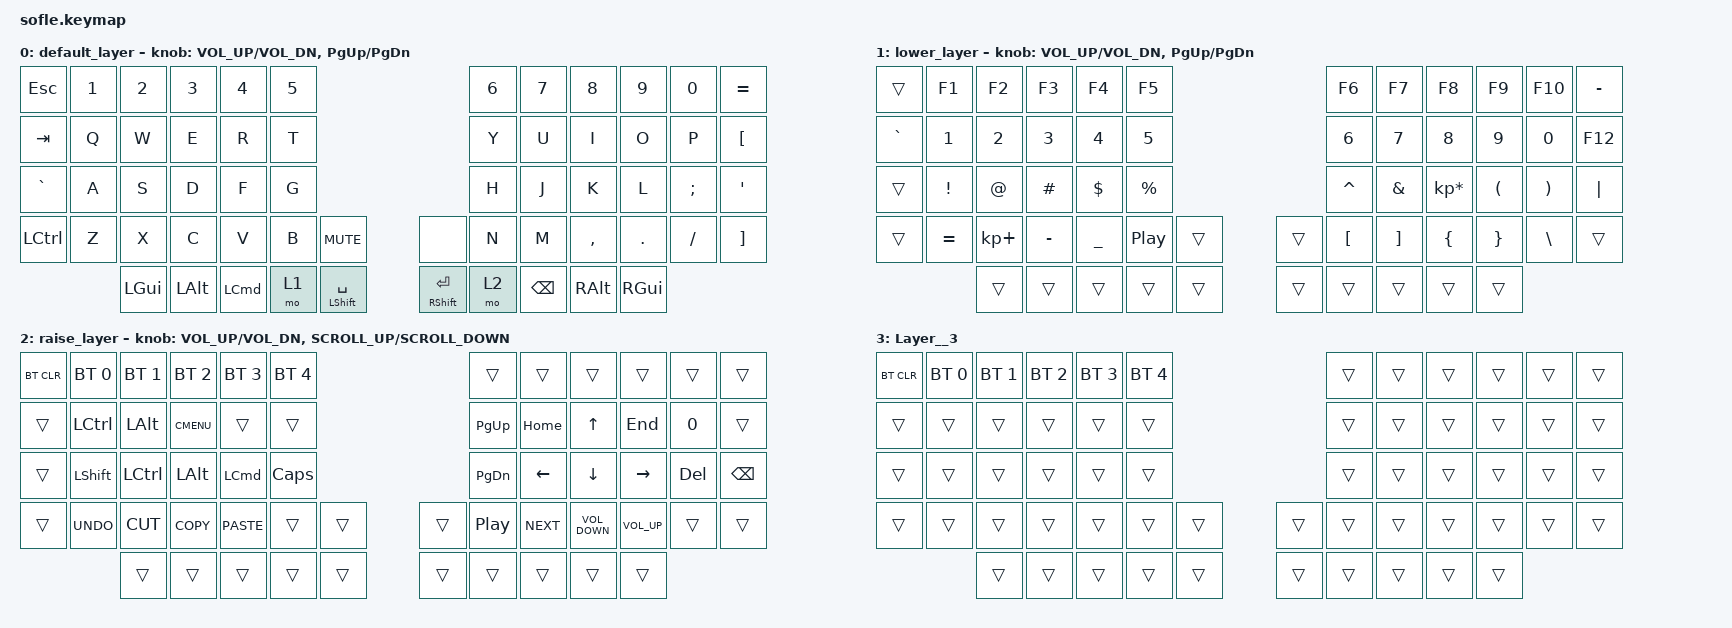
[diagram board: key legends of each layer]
/*
 * Copyright (c) 2020 The ZMK Contributors
 *
 * SPDX-License-Identifier: MIT
 */

#include <behaviors.dtsi>
#include <dt-bindings/zmk/bt.h>
#include <dt-bindings/zmk/keys.h>

/ {
    keymap {
        compatible = "zmk,keymap";

        default_layer {
            // ------------------------------------------------------------------------------------------------------------
            // |  `    |  1  |  2  |  3   |  4   |  5   |                   |  6   |  7    |  8    |  9   |   0   |       |
            // |  ESC  |  Q  |  W  |  E   |  R   |  T   |                   |  Y   |  U    |  I    |  O   |   P   | BKSPC |
            // |  TAB  |  A  |  S  |  D   |  F   |  G   |                   |  H   |  J    |  K    |  L   |   ;   |   '   |
            // | SHIFT |  Z  |  X  |  C   |  V   |  B   |  MUTE  |  |       |  N   |  M    |  ,    |  .   |   /   | SHIFT |
            //               | GUI | ALT  | CTRL | LOWER|  ENTER |  | SPACE | RAISE| CTRL  | ALT   | GUI  |

            bindings = <
&kp ESC     &kp N1  &kp N2    &kp N3    &kp N4            &kp N5                                                 &kp N6  &kp N7         &kp N8     &kp N9    &kp N0    &kp EQUAL
&kp TAB     &kp Q   &kp W     &kp E     &kp R             &kp T                                                  &kp Y   &kp U          &kp I      &kp O     &kp P     &kp LEFT_BRACKET
&kp GRAVE   &kp A   &kp S     &kp D     &kp F             &kp G                                                  &kp H   &kp J          &kp K      &kp L     &kp SEMI  &kp SQT
&kp LCTRL   &kp Z   &kp X     &kp C     &kp V             &kp B   &kp C_MUTE              &none                  &kp N   &kp M          &kp COMMA  &kp DOT   &kp FSLH  &kp RIGHT_BRACKET
                    &kp LGUI  &kp LALT  &kp LEFT_COMMAND  &mo 1   &mt LEFT_SHIFT SPACE    &mt RIGHT_SHIFT ENTER  &mo 2   &kp BACKSPACE  &kp RALT   &kp RGUI
            >;

            sensor-bindings = <&inc_dec_kp C_VOL_UP C_VOL_DN &inc_dec_kp PG_UP PG_DN>;
        };

        lower_layer {
            // TODO: Some binds are waiting for shifted keycode support.
            // ------------------------------------------------------------------------------------------------------------
            // |       |  F1 |  F2 |  F3  |  F4  |  F5  |                   |  F6  |  F7   |  F8   |  F9  |  F10  |  F11  |
            // | `     |   1 |   2 |   3  |   4  |   5  |                   |   6  |   7   |   8   |   9  |    0  |  F12  |
            // |       |  !  |  @  |  #   |  $   |  %   |                   |  ^   |  &    |  *    |  (   |   )   |   |   |
            // |       |  =  |  -  |  +   |  {   |  }   |        |  |       |  [   |  ]    |  ;    |  :   |   \   |       |
            //               |     |      |      |      |        |  |       |      |       |       |      |

            bindings = <
&trans     &kp F1     &kp F2       &kp F3     &kp F4     &kp F5                              &kp F6     &kp F7    &kp F8           &kp F9           &kp F10   &kp MINUS
&kp GRAVE  &kp N1     &kp N2       &kp N3     &kp N4     &kp N5                              &kp N6     &kp N7    &kp N8           &kp NUMBER_9     &kp N0    &kp F12
&trans     &kp EXCL   &kp AT       &kp HASH   &kp DLLR   &kp PRCNT                           &kp CARET  &kp AMPS  &kp KP_MULTIPLY  &kp LPAR         &kp RPAR  &kp PIPE
&trans     &kp EQUAL  &kp KP_PLUS  &kp MINUS  &kp UNDER  &kp C_PLAY_PAUSE  &trans    &trans  &kp LBKT   &kp RBKT  &kp LEFT_BRACE   &kp RIGHT_BRACE  &kp BSLH  &trans
                      &trans       &trans     &trans     &trans            &trans    &trans  &trans     &trans    &trans           &trans
            >;

            sensor-bindings = <&inc_dec_kp C_VOL_UP C_VOL_DN &inc_dec_kp PG_UP PG_DN>;
        };

        raise_layer {
            // ------------------------------------------------------------------------------------------------------------
            // |BTCLR| BT1  | BT2  |  BT3  |  BT4  |  BT5 |                |      |      |       |      |       |       |
            // |     | INS  | PSCR | GUI   |       |      |                | PGUP |      |       |      |       |       |
            // |     | ALT  | CTRL | SHIFT |       | CAPS |                |  <-  |   ^  |   v   |  ->  |  DEL  | BKSPC |
            // |     | UNDO | CUT  | COPY  | PASTE |      |      |  |      |      |      |       |      |       |       |
            //              |      |       |       |      |      |  |      |      |      |       |      |

            bindings = <
&bt BT_CLR  &bt BT_SEL 0    &bt BT_SEL 1  &bt BT_SEL 2  &bt BT_SEL 3  &bt BT_SEL 4                    &trans            &trans      &trans             &trans           &trans   &trans
&trans      &kp LCTRL       &kp LALT      &kp K_CMENU   &trans        &trans                          &kp PG_UP         &kp HOME    &kp UP             &kp END          &kp N0   &trans
&trans      &kp LEFT_SHIFT  &kp LCTRL     &kp LEFT_ALT  &kp LCMD      &kp CLCK                        &kp PG_DN         &kp LEFT    &kp DOWN           &kp RIGHT        &kp DEL  &kp BSPC
&trans      &kp K_UNDO      &kp K_CUT     &kp K_COPY    &kp K_PASTE   &trans        &trans    &trans  &kp C_PLAY_PAUSE  &kp C_NEXT  &kp C_VOLUME_DOWN  &kp C_VOLUME_UP  &trans   &trans
                            &trans        &trans        &trans        &trans        &trans    &trans  &trans            &trans      &trans             &trans
            >;

            sensor-bindings = <&inc_dec_kp C_VOL_UP C_VOL_DN &inc_dec_kp K_SCROLL_UP K_SCROLL_DOWN>;
        };

        Layer__3 {
            bindings = <
&bt BT_CLR  &bt BT_SEL 0  &bt BT_SEL 1  &bt BT_SEL 2  &bt BT_SEL 3  &bt BT_SEL 4                    &trans  &trans  &trans  &trans  &trans  &trans
&trans      &trans        &trans        &trans        &trans        &trans                          &trans  &trans  &trans  &trans  &trans  &trans
&trans      &trans        &trans        &trans        &trans        &trans                          &trans  &trans  &trans  &trans  &trans  &trans
&trans      &trans        &trans        &trans        &trans        &trans        &trans    &trans  &trans  &trans  &trans  &trans  &trans  &trans
                          &trans        &trans        &trans        &trans        &trans    &trans  &trans  &trans  &trans  &trans
            >;
        };
    };
};

